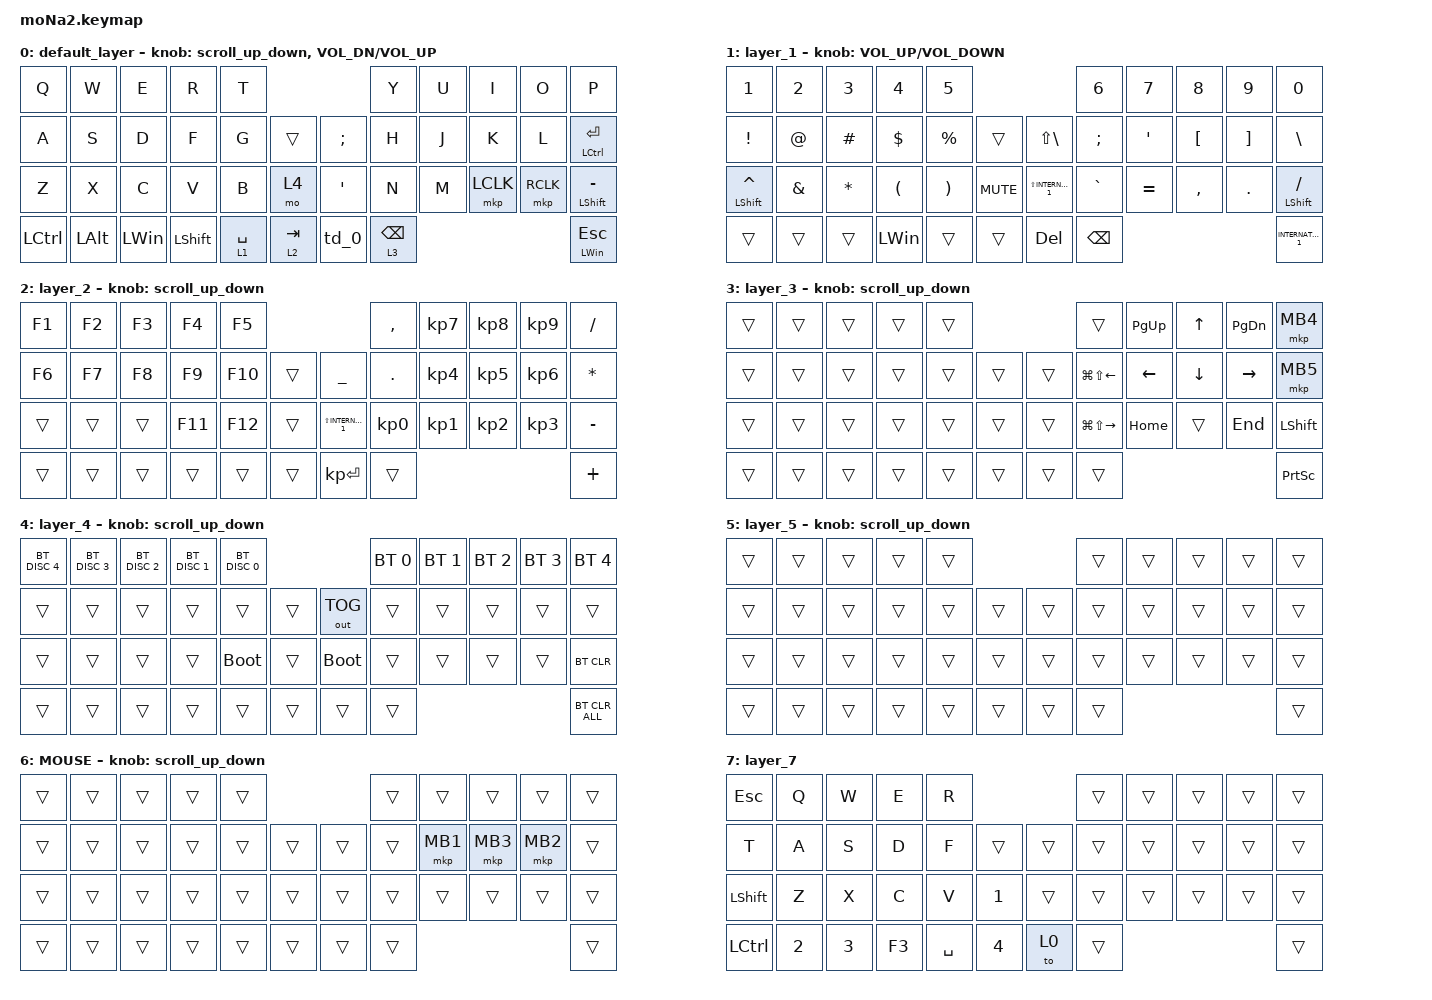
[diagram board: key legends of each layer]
#include <behaviors.dtsi>
#include <dt-bindings/zmk/bt.h>
#include <dt-bindings/zmk/keys.h>
#include <dt-bindings/zmk/outputs.h>
#include <dt-bindings/zmk/pointing.h>

#define ZMK_POINTING_DEFAULT_SCRL_VAL 100
#define MOUSE 6

// OS設定を日本語キーボードのまま使用するための変換定義

#define JP_DQUOTE       AT                // "
#define JP_AMPERSAND    CARET             // &
#define JP_QUOTE        AMPERSAND         // '
#define JP_EQUAL        UNDER             // =
#define JP_CARET        EQUAL             // ^
#define JP_YEN          0x89              // ¥
#define JP_PLUS         COLON             // +
#define JP_TILDE        PLUS              // ~
#define JP_PIPE         LS(0x89)          // |
#define JP_AT           LEFT_BRACKET      // @
#define JP_COLON        SINGLE_QUOTE      // :
#define JP_ASTERISK     DOUBLE_QUOTES     // *
#define JP_BACKQUOTE    LEFT_BRACE        // `
#define JP_UNDERSCORE   LS(0x87)          // _
#define JP_LBRACKET     RIGHT_BRACKET     // [
#define JP_RBRACKET     BACKSLASH         // ]
#define JP_LPAREN       ASTERISK          // (
#define JP_RPAREN       LEFT_PARENTHESIS  // )
#define JP_LBRACE       RIGHT_BRACE       // {
#define JP_RBRACE       PIPE              // }
#define JP_KANA         LANGUAGE_1        // かな
#define JP_EISU         LANGUAGE_2        // 英数
#define JP_HANZEN       GRAVE             // 半角/全角

&mt {
    flavor = "balanced";
    quick-tap-ms = <0>;
};

/ {
    combos {
        compatible = "zmk,combos";

        combo_0 {
            bindings = <&mo 5>;
            key-positions = <31 32>;
        };
    };

    macros {
        to_layer_0: to_layer_0 {
            compatible = "zmk,behavior-macro-one-param";
            #binding-cells = <1>;
            bindings = <&to 0 &macro_param_1to1 &kp MACRO_PLACEHOLDER>;
            label = "TO_LAYER_0";
        };
    };

    behaviors {
        lt_to_layer_0: lt_to_layer_0 {
            compatible = "zmk,behavior-hold-tap";
            label = "LAYER_TAP_TO_0";
            bindings = <&mo>, <&to_layer_0>;

            #binding-cells = <2>;
            tapping-term-ms = <200>;
        };

        scroll_up_down: behavior_sensor_rotate_mouse_wheel_up_down {
            compatible = "zmk,behavior-sensor-rotate";
            #sensor-binding-cells = <0>;
            bindings = <&msc SCRL_UP>, <&msc SCRL_DOWN>;

            tap-ms = <20>;
        };

        td_0: td_0 {
            compatible = "zmk,behavior-tap-dance";
            label = "TD_0";
            #binding-cells = <0>;
            bindings = <&kp LANGUAGE_1>, <&kp LANGUAGE_2>, <&to 7>;
        };

        td_1: td_1 {
            compatible = "zmk,behavior-tap-dance";
            label = "TD_1";
            #binding-cells = <0>;
            bindings = <&mkp MB4>, <&mkp MB5>;
        };
    };

    keymap {
        compatible = "zmk,keymap";

        default_layer {
            bindings = <
&kp Q      &kp W         &kp E         &kp R           &kp T                                    &kp Y            &kp U  &kp I      &kp O      &kp P
&kp A      &kp S         &kp D         &kp F           &kp G        &trans       &kp SEMICOLON  &kp H            &kp J  &kp K      &kp L      &mt LEFT_CONTROL ENTER
&kp Z      &kp X         &kp C         &kp V           &kp B        &mo 4        &kp SQT        &kp N            &kp M  &mkp LCLK  &mkp RCLK  &mt LEFT_SHIFT MINUS
&kp LCTRL  &kp LEFT_ALT  &kp LEFT_WIN  &kp LEFT_SHIFT  &lt 1 SPACE  &lt 2 TAB    &td_0          &lt 3 BACKSPACE                               &mt LEFT_WIN ESC
            >;

            sensor-bindings =
                <&scroll_up_down>,
                <&inc_dec_kp C_VOL_DN C_VOL_UP>;
        };

        layer_1 {
            bindings = <
&kp NUMBER_1          &kp NUMBER_2   &kp NUMBER_3  &kp NUMBER_4          &kp N5                                                        &kp NUMBER_6   &kp N7            &kp N8            &kp N9             &kp N0
&kp EXCLAMATION       &kp AT         &kp HASH      &kp DOLLAR            &kp PERCENT            &trans        &kp LS(BACKSLASH)        &kp SEMI       &kp SINGLE_QUOTE  &kp LEFT_BRACKET  &kp RIGHT_BRACKET  &kp BACKSLASH
&mt LEFT_SHIFT CARET  &kp AMPERSAND  &kp ASTERISK  &kp LEFT_PARENTHESIS  &kp RIGHT_PARENTHESIS  &kp C_MUTE    &kp LS(INTERNATIONAL_1)  &kp GRAVE      &kp EQUAL         &kp COMMA         &kp PERIOD         &mt LEFT_SHIFT SLASH
&trans                &trans         &trans        &kp LEFT_WIN          &trans                 &trans        &kp DELETE               &kp BACKSPACE                                                         &kp INTERNATIONAL_1
            >;

            sensor-bindings = <&inc_dec_kp C_VOLUME_UP C_VOLUME_DOWN>;
        };

        layer_2 {
            bindings = <
&kp F1  &kp F2  &kp F3  &kp F4   &kp F5                                      &kp COMMA        &kp KP_NUMBER_7  &kp KP_NUMBER_8  &kp KP_NUMBER_9  &kp SLASH
&kp F6  &kp F7  &kp F8  &kp F9   &kp F10  &trans    &kp UNDERSCORE           &kp DOT          &kp KP_NUMBER_4  &kp KP_NUMBER_5  &kp KP_NUMBER_6  &kp ASTERISK
&trans  &trans  &trans  &kp F11  &kp F12  &trans    &kp LS(INTERNATIONAL_1)  &kp KP_NUMBER_0  &kp KP_NUMBER_1  &kp KP_NUMBER_2  &kp KP_NUMBER_3  &kp MINUS
&trans  &trans  &trans  &trans   &trans   &trans    &kp KP_ENTER             &trans                                                              &kp PLUS
            >;

            sensor-bindings = <&scroll_up_down>;
        };

        layer_3 {
            bindings = <
&trans  &trans  &trans  &trans  &trans                    &trans                   &kp PAGE_UP     &kp UP_ARROW    &kp PAGE_DOWN    &mkp MB4
&trans  &trans  &trans  &trans  &trans  &trans    &trans  &kp LG(LS(LEFT_ARROW))   &kp LEFT_ARROW  &kp DOWN_ARROW  &kp RIGHT_ARROW  &mkp MB5
&trans  &trans  &trans  &trans  &trans  &trans    &trans  &kp LG(LS(RIGHT_ARROW))  &kp HOME        &trans          &kp END          &kp LEFT_SHIFT
&trans  &trans  &trans  &trans  &trans  &trans    &trans  &trans                                                                    &kp PRINTSCREEN
            >;

            sensor-bindings = <&scroll_up_down>;
        };

        layer_4 {
            bindings = <
&bt BT_DISC 4  &bt BT_DISC 3  &bt BT_DISC 2  &bt BT_DISC 1  &bt BT_DISC 0                          &bt BT_SEL 0  &bt BT_SEL 1  &bt BT_SEL 2  &bt BT_SEL 3  &bt BT_SEL 4
&trans         &trans         &trans         &trans         &trans         &trans    &out OUT_TOG  &trans        &trans        &trans        &trans        &trans
&trans         &trans         &trans         &trans         &bootloader    &trans    &bootloader   &trans        &trans        &trans        &trans        &bt BT_CLR
&trans         &trans         &trans         &trans         &trans         &trans    &trans        &trans                                                  &bt BT_CLR_ALL
            >;

            sensor-bindings = <&scroll_up_down>;
        };

        layer_5 {
            bindings = <
&trans  &trans  &trans  &trans  &trans                    &trans  &trans  &trans  &trans  &trans
&trans  &trans  &trans  &trans  &trans  &trans    &trans  &trans  &trans  &trans  &trans  &trans
&trans  &trans  &trans  &trans  &trans  &trans    &trans  &trans  &trans  &trans  &trans  &trans
&trans  &trans  &trans  &trans  &trans  &trans    &trans  &trans                          &trans
            >;

            sensor-bindings = <&scroll_up_down>;
        };

        MOUSE {
            bindings = <
&trans  &trans  &trans  &trans  &trans                    &trans  &trans    &trans    &trans    &trans
&trans  &trans  &trans  &trans  &trans  &trans    &trans  &trans  &mkp MB1  &mkp MB3  &mkp MB2  &trans
&trans  &trans  &trans  &trans  &trans  &trans    &trans  &trans  &trans    &trans    &trans    &trans
&trans  &trans  &trans  &trans  &trans  &trans    &trans  &trans                                &trans
            >;

            sensor-bindings = <&scroll_up_down>;
        };

        layer_7 {
            bindings = <
&kp ESCAPE        &kp Q         &kp W         &kp E   &kp R                              &trans  &trans  &trans  &trans  &trans
&kp T             &kp A         &kp S         &kp D   &kp F      &trans          &trans  &trans  &trans  &trans  &trans  &trans
&kp LEFT_SHIFT    &kp Z         &kp X         &kp C   &kp V      &kp NUMBER_1    &trans  &trans  &trans  &trans  &trans  &trans
&kp LEFT_CONTROL  &kp NUMBER_2  &kp NUMBER_3  &kp F3  &kp SPACE  &kp NUMBER_4    &to 0   &trans                          &trans
            >;
        };
    };
};
